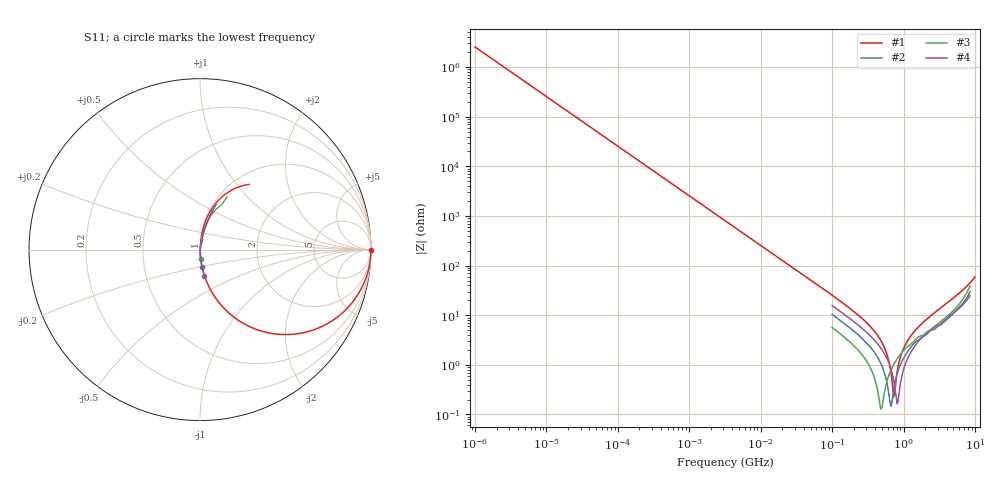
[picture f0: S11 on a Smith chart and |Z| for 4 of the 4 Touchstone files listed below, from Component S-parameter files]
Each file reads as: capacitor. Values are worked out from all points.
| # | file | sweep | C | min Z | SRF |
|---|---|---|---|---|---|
| 1 | C0603C620G5GACTU-Series Kemet 62 nF S21vsFreq_series.S2P | 1 kHz to 10 GHz | 62.2 pF | 219 mohm | 733.8 MHz |
| 2 | GCM1555C1H151JA16_series 150 pF.s2p | 100 MHz to 8.5 GHz | 150 pF | 145 mohm | 666.7 MHz |
| 3 | GRM1555C1H271GA01_series Murata 270pF cap.s2p | 100 MHz to 8.5 GHz | 270 pF | 128 mohm | 487.1 MHz |
| 4 | GRT1555C1E101JA02_series 100 nF cap.s2p | 100 MHz to 8.5 GHz | 100 pF | 165 mohm | 818.8 MHz |
